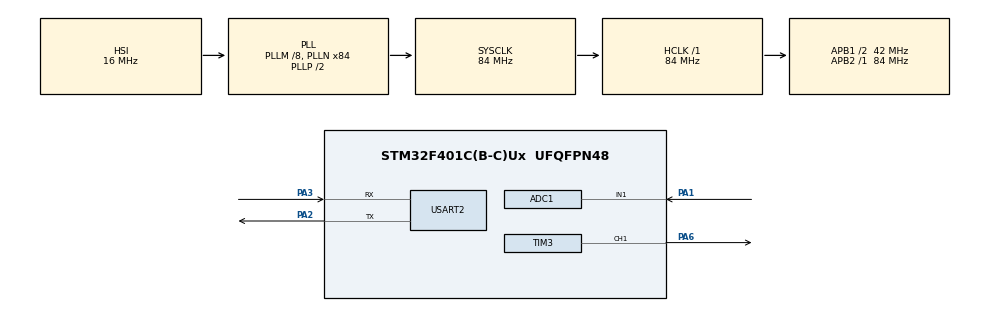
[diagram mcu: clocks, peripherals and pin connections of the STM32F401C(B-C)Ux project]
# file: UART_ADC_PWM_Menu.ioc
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ADC1.Channel-0\#ChannelRegularConversion=ADC_CHANNEL_1
ADC1.ContinuousConvMode=ENABLE
ADC1.DMAContinuousRequests=ENABLE
ADC1.NbrOfConversionFlag=1
ADC1.Rank-0\#ChannelRegularConversion=1
ADC1.SamplingTime-0\#ChannelRegularConversion=ADC_SAMPLETIME_3CYCLES
ADC1.master=1
Dma.ADC1.0.Direction=DMA_PERIPH_TO_MEMORY
Dma.ADC1.0.FIFOMode=DMA_FIFOMODE_DISABLE
Dma.ADC1.0.Instance=DMA2_Stream0
Dma.ADC1.0.MemDataAlignment=DMA_MDATAALIGN_WORD
Dma.ADC1.0.MemInc=DMA_MINC_ENABLE
Dma.ADC1.0.Mode=DMA_CIRCULAR
Dma.ADC1.0.PeriphDataAlignment=DMA_PDATAALIGN_WORD
Dma.ADC1.0.PeriphInc=DMA_PINC_DISABLE
Dma.ADC1.0.Priority=DMA_PRIORITY_LOW
Dma.Request0=ADC1
Mcu.Family=STM32F4
Mcu.Name=STM32F401C(B-C)Ux
Mcu.Package=UFQFPN48
NVIC.ADC_IRQn=true\:0\:0\:false\:false\:true\:true\:true\:true
NVIC.DMA2_Stream0_IRQn=true\:0\:0\:false\:false\:true\:false\:true\:true
NVIC.PriorityGroup=NVIC_PRIORITYGROUP_4
NVIC.USART2_IRQn=true\:0\:0\:false\:false\:true\:true\:true\:true
PA1.Signal=ADCx_IN1
PA2.Mode=Asynchronous
PA2.Signal=USART2_TX
PA3.Mode=Asynchronous
PA3.Signal=USART2_RX
PA6.Signal=S_TIM3_CH1
ProjectManager.HeapSize=0x200
ProjectManager.StackSize=0x400
ProjectManager.TargetToolchain=STM32CubeIDE
RCC.48MHZClocksFreq_Value=42000000
RCC.AHBFreq_Value=84000000
RCC.APB1CLKDivider=RCC_HCLK_DIV2
RCC.APB1Freq_Value=42000000
RCC.APB1TimFreq_Value=84000000
RCC.APB2Freq_Value=84000000
RCC.APB2TimFreq_Value=84000000
RCC.CortexFreq_Value=84000000
RCC.HCLKFreq_Value=84000000
RCC.HSE_VALUE=25000000
RCC.HSI_VALUE=16000000
RCC.LSE_VALUE=32768
RCC.PLLM=8
RCC.PLLN=84
RCC.SYSCLKFreq_VALUE=84000000
RCC.SYSCLKSource=RCC_SYSCLKSOURCE_PLLCLK
RCC.VCOOutputFreq_Value=168000000
SH.ADCx_IN1.0=ADC1_IN1,IN1
SH.S_TIM3_CH1.0=TIM3_CH1,PWM Generation1 CH1
TIM3.Channel-PWM\ Generation1\ CH1=TIM_CHANNEL_1
TIM3.Period=100
TIM3.Prescaler=83
USART2.VirtualMode=VM_ASYNC
board=custom

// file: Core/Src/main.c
/* USER CODE BEGIN Header */
/**
  ******************************************************************************
  * @file           : main.c
  * @brief          : Main program body
  ******************************************************************************
  * @attention
  *
  * Copyright (c) 2025 STMicroelectronics.
  * All rights reserved.
  *
  * This software is licensed under terms that can be found in the LICENSE file
  * in the root directory of this software component.
  * If no LICENSE file comes with this software, it is provided AS-IS.
  *
  ******************************************************************************
  */
/* USER CODE END Header */
#include "main.h"

/* USER CODE BEGIN Includes */
#include <stdio.h>
#include <string.h>
#include <stdlib.h>
/* USER CODE END Includes */

ADC_HandleTypeDef hadc1;
DMA_HandleTypeDef hdma_adc1;

TIM_HandleTypeDef htim3;

UART_HandleTypeDef huart2;

void SystemClock_Config(void);
static void MX_GPIO_Init(void);
static void MX_DMA_Init(void);
static void MX_ADC1_Init(void);
static void MX_USART2_UART_Init(void);
static void MX_TIM3_Init(void);

/* USER CODE BEGIN 0 */
uint32_t adc_dma_buffer[10];
uint32_t adc_avg = 0;
char rx_char;
char msg[64];

volatile uint8_t adc_dma_done = 0;
volatile uint8_t free_running_mode = 0;

/* Function prototypes -------------------------------------------------------*/
void SystemClock_Config(void);
static void MX_GPIO_Init(void);
static void MX_DMA_Init(void);
static void MX_ADC1_Init(void);
static void MX_TIM3_Init(void);
static void MX_USART2_UART_Init(void);

/* Helper functions */
void send_uart(const char *text) {
    HAL_UART_Transmit(&huart2, (uint8_t *)text, strlen(text), HAL_MAX_DELAY);
}

void print_menu() {
    send_uart("\r\n--- Menu ---\r\n");
    send_uart("1. Set Brightness PWM (0-100)\r\n");
    send_uart("2. Read ADC (single)\r\n");
    send_uart("3. Read ADC (DMA avg)\r\n");
    send_uart("4. Free-running (ADC avg → PWM)\r\n");
    send_uart("Your choice: ");
}

void set_pwm_duty(uint8_t percent) {
    if (percent > 100) percent = 100;
    __HAL_TIM_SET_COMPARE(&htim3, TIM_CHANNEL_1, percent);
}

void read_adc_single() {
    HAL_ADC_Start(&hadc1);
    if (HAL_ADC_PollForConversion(&hadc1, HAL_MAX_DELAY) == HAL_OK) {
        uint32_t value = HAL_ADC_GetValue(&hadc1);
        sprintf(msg, "ADC Single: %lu\r\n", value);
        send_uart(msg);
    }
    HAL_ADC_Stop(&hadc1);
}

void read_adc_dma_avg() {
    adc_dma_done = 0;
    free_running_mode = 0;

    if (HAL_ADC_Start_DMA(&hadc1, adc_dma_buffer, 10) != HAL_OK) {
        send_uart("ADC DMA START FAIL\r\n");
        return;
    }

    HAL_ADC_Start_DMA(&hadc1, adc_dma_buffer, 10);

    while (!adc_dma_done) {
        HAL_Delay(1);
    }

    HAL_ADC_Stop_DMA(&hadc1);

    uint32_t sum = 0;
    for (int i = 0; i < 10; i++) {
        sum += adc_dma_buffer[i];
    }
    adc_avg = sum / 10;

    sprintf(msg, "ADC DMA Avg: %lu\r\n", adc_avg);
    send_uart(msg);

    for (int i = 0; i < 10; i++) {
        sprintf(msg, "Sample %d: %lu\r\n", i + 1, adc_dma_buffer[i]);
        send_uart(msg);
    }
}

void HAL_ADC_ConvCpltCallback(ADC_HandleTypeDef *hadc) {
    uint32_t sum = 0;
    for (int i = 0; i < 10; i++) {
        sum += adc_dma_buffer[i];
    }
    adc_avg = sum / 10;

    if (free_running_mode) {
        uint8_t pwm_val = (adc_avg * 100) / 4095;
        set_pwm_duty(pwm_val);

        char msg[64];
        send_uart(msg);
    } else {
        HAL_ADC_Stop_DMA(hadc);
        adc_dma_done = 1;
    }
}

/* USER CODE END 0 */

int main(void)
{

  /* MCU Configuration--------------------------------------------------------*/

  /* Reset of all peripherals, Initializes the Flash interface and the Systick. */
  HAL_Init();

  /* Configure the system clock */
  SystemClock_Config();

  /* Initialize all configured peripherals */
  MX_GPIO_Init();
  MX_DMA_Init();
  MX_ADC1_Init();
  MX_USART2_UART_Init();
  MX_TIM3_Init();
  /* USER CODE BEGIN 2 */
  HAL_TIM_PWM_Start(&htim3, TIM_CHANNEL_1);
  send_uart("STM32 UART Menu Program Ready!\r\n");
  /* USER CODE END 2 */

  /* Infinite loop */
  while (1)
  {
	  print_menu();
	          HAL_UART_Receive(&huart2, (uint8_t *)&rx_char, 1, HAL_MAX_DELAY);
	          sprintf(msg, "You selected: %c\r\n", rx_char);
	          send_uart(msg);

	          switch (rx_char) {
	              case '1':
	                  send_uart("Enter brightness (0-100): ");
	          	  char brightness_str[4] = {0};
	          	  HAL_UART_Receive(&huart2, (uint8_t *)brightness_str, 3, HAL_MAX_DELAY);
	          	  uint8_t brightness = atoi(brightness_str);
	          	  set_pwm_duty(brightness);
	          	  sprintf(msg, "Brightness set to: %d\r\n", brightness);
	          	  send_uart(msg);
	          	  free_running_mode = 0;
	          	  break;

	              case '2':
	                  read_adc_single();
	                  break;

	              case '3':
	                  read_adc_dma_avg();
	                  break;

	              case '4':
	                  send_uart("Free-running mode started...\r\n");
	                  free_running_mode = 1;
	                  HAL_ADC_Start_DMA(&hadc1, adc_dma_buffer, 10);
	                  break;

	              default:
	                  send_uart("Invalid input. Try again.\r\n");
	          }

	          HAL_Delay(500);
  }
}

void SystemClock_Config(void)
{
  RCC_OscInitTypeDef RCC_OscInitStruct = {0};
  RCC_ClkInitTypeDef RCC_ClkInitStruct = {0};

  /** Configure the main internal regulator output voltage
  */
  __HAL_RCC_PWR_CLK_ENABLE();
  __HAL_PWR_VOLTAGESCALING_CONFIG(PWR_REGULATOR_VOLTAGE_SCALE2);

  /** Initializes the RCC Oscillators according to the specified parameters
  * in the RCC_OscInitTypeDef structure.
  */
  RCC_OscInitStruct.OscillatorType = RCC_OSCILLATORTYPE_HSI;
  RCC_OscInitStruct.HSIState = RCC_HSI_ON;
  RCC_OscInitStruct.HSICalibrationValue = RCC_HSICALIBRATION_DEFAULT;
  RCC_OscInitStruct.PLL.PLLState = RCC_PLL_ON;
  RCC_OscInitStruct.PLL.PLLSource = RCC_PLLSOURCE_HSI;
  RCC_OscInitStruct.PLL.PLLM = 8;
  RCC_OscInitStruct.PLL.PLLN = 84;
  RCC_OscInitStruct.PLL.PLLP = RCC_PLLP_DIV2;
  RCC_OscInitStruct.PLL.PLLQ = 4;
  if (HAL_RCC_OscConfig(&RCC_OscInitStruct) != HAL_OK)
  {
    Error_Handler();
  }

  /** Initializes the CPU, AHB and APB buses clocks
  */
  RCC_ClkInitStruct.ClockType = RCC_CLOCKTYPE_HCLK|RCC_CLOCKTYPE_SYSCLK
                              |RCC_CLOCKTYPE_PCLK1|RCC_CLOCKTYPE_PCLK2;
  RCC_ClkInitStruct.SYSCLKSource = RCC_SYSCLKSOURCE_PLLCLK;
  RCC_ClkInitStruct.AHBCLKDivider = RCC_SYSCLK_DIV1;
  RCC_ClkInitStruct.APB1CLKDivider = RCC_HCLK_DIV2;
  RCC_ClkInitStruct.APB2CLKDivider = RCC_HCLK_DIV1;

  if (HAL_RCC_ClockConfig(&RCC_ClkInitStruct, FLASH_LATENCY_2) != HAL_OK)
  {
    Error_Handler();
  }
}

static void MX_ADC1_Init(void)
{

  ADC_ChannelConfTypeDef sConfig = {0};

  /** Configure the global features of the ADC (Clock, Resolution, Data Alignment and number of conversion)
  */
  hadc1.Instance = ADC1;
  hadc1.Init.ClockPrescaler = ADC_CLOCK_SYNC_PCLK_DIV4;
  hadc1.Init.Resolution = ADC_RESOLUTION_12B;
  hadc1.Init.ScanConvMode = DISABLE;
  hadc1.Init.ContinuousConvMode = ENABLE;
  hadc1.Init.DiscontinuousConvMode = DISABLE;
  hadc1.Init.ExternalTrigConvEdge = ADC_EXTERNALTRIGCONVEDGE_NONE;
  hadc1.Init.ExternalTrigConv = ADC_SOFTWARE_START;
  hadc1.Init.DataAlign = ADC_DATAALIGN_RIGHT;
  hadc1.Init.NbrOfConversion = 1;
  hadc1.Init.DMAContinuousRequests = ENABLE;
  hadc1.Init.EOCSelection = ADC_EOC_SINGLE_CONV;
  if (HAL_ADC_Init(&hadc1) != HAL_OK)
  {
    Error_Handler();
  }

  /** Configure for the selected ADC regular channel its corresponding rank in the sequencer and its sample time.
  */
  sConfig.Channel = ADC_CHANNEL_1;
  sConfig.Rank = 1;
  sConfig.SamplingTime = ADC_SAMPLETIME_3CYCLES;
  if (HAL_ADC_ConfigChannel(&hadc1, &sConfig) != HAL_OK)
  {
    Error_Handler();
  }

}

static void MX_TIM3_Init(void)
{

  TIM_MasterConfigTypeDef sMasterConfig = {0};
  TIM_OC_InitTypeDef sConfigOC = {0};

  htim3.Instance = TIM3;
  htim3.Init.Prescaler = 83;
  htim3.Init.CounterMode = TIM_COUNTERMODE_UP;
  htim3.Init.Period = 100;
  htim3.Init.ClockDivision = TIM_CLOCKDIVISION_DIV1;
  htim3.Init.AutoReloadPreload = TIM_AUTORELOAD_PRELOAD_DISABLE;
  if (HAL_TIM_PWM_Init(&htim3) != HAL_OK)
  {
    Error_Handler();
  }
  sMasterConfig.MasterOutputTrigger = TIM_TRGO_RESET;
  sMasterConfig.MasterSlaveMode = TIM_MASTERSLAVEMODE_DISABLE;
  if (HAL_TIMEx_MasterConfigSynchronization(&htim3, &sMasterConfig) != HAL_OK)
  {
    Error_Handler();
  }
  sConfigOC.OCMode = TIM_OCMODE_PWM1;
  sConfigOC.Pulse = 0;
  sConfigOC.OCPolarity = TIM_OCPOLARITY_HIGH;
  sConfigOC.OCFastMode = TIM_OCFAST_DISABLE;
  if (HAL_TIM_PWM_ConfigChannel(&htim3, &sConfigOC, TIM_CHANNEL_1) != HAL_OK)
  {
    Error_Handler();
  }
  HAL_TIM_MspPostInit(&htim3);

}

static void MX_USART2_UART_Init(void)
{

  huart2.Instance = USART2;
  huart2.Init.BaudRate = 115200;
  huart2.Init.WordLength = UART_WORDLENGTH_8B;
  huart2.Init.StopBits = UART_STOPBITS_1;
  huart2.Init.Parity = UART_PARITY_NONE;
  huart2.Init.Mode = UART_MODE_TX_RX;
  huart2.Init.HwFlowCtl = UART_HWCONTROL_NONE;
  huart2.Init.OverSampling = UART_OVERSAMPLING_16;
  if (HAL_UART_Init(&huart2) != HAL_OK)
  {
    Error_Handler();
  }

}

static void MX_DMA_Init(void)
{

  /* DMA controller clock enable */
  __HAL_RCC_DMA2_CLK_ENABLE();

  /* DMA interrupt init */
  /* DMA2_Stream0_IRQn interrupt configuration */
  HAL_NVIC_SetPriority(DMA2_Stream0_IRQn, 0, 0);
  HAL_NVIC_EnableIRQ(DMA2_Stream0_IRQn);

}

static void MX_GPIO_Init(void)
{

  /* GPIO Ports Clock Enable */
  __HAL_RCC_GPIOA_CLK_ENABLE();

}

void Error_Handler(void)
{
  __disable_irq();
  while (1)
  {
  }
}
